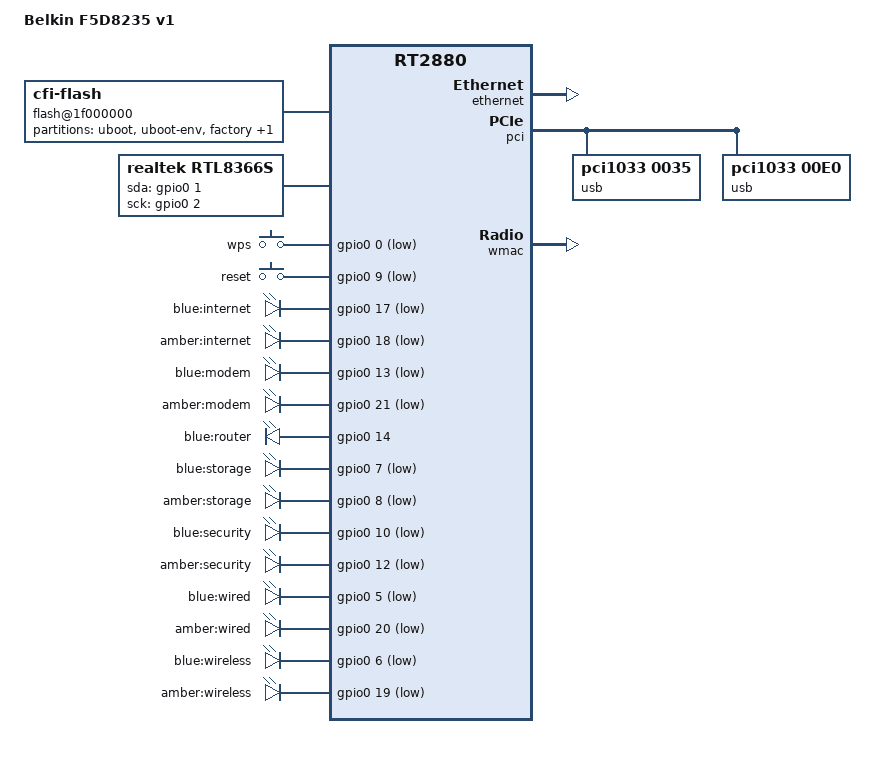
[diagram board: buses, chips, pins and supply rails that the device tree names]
#include "rt2880.dtsi"

#include <dt-bindings/gpio/gpio.h>
#include <dt-bindings/input/input.h>

/ {
	#address-cells = <1>;
	#size-cells = <1>;
	compatible = "belkin,f5d8235-v1", "ralink,rt2880-soc";
	model = "Belkin F5D8235 v1";

	aliases {
		led-boot = &led_wired_blue;
		led-failsafe = &led_wired_blue;
	};

	flash@1f000000 {
		compatible = "cfi-flash";
		reg = <0xbc400000 0x800000>;
		bank-width = <2>;
		device-width = <2>;

		partitions {
			compatible = "fixed-partitions";
			#address-cells = <1>;
			#size-cells = <1>;

			partition@0 {
				label = "uboot";
				reg = <0x0 0x30000>;
				read-only;
			};

			partition@30000 {
				label = "uboot-env";
				reg = <0x30000 0x10000>;
				read-only;
			};

			partition@40000 {
				label = "factory";
				reg = <0x40000 0x10000>;
				read-only;

				nvmem-layout {
					compatible = "fixed-layout";
					#address-cells = <1>;
					#size-cells = <1>;

					eeprom_factory_0: eeprom@0 {
						reg = <0x0 0x200>;
					};

					macaddr_factory_4: macaddr@4 {
						reg = <0x4 0x6>;
					};
				};
			};

			partition@50000 {
				compatible = "denx,uimage";
				label = "firmware";
				reg = <0x50000 0x7b0000>;
			};
		};
	};

	rtl8366s {
		compatible = "realtek,rtl8366s";
		sda-gpios = <&gpio0 1 GPIO_ACTIVE_HIGH>;
		sck-gpios = <&gpio0 2 GPIO_ACTIVE_HIGH>;

		realtek,initvals = <
			0x0242 0x02bf
			0x0245 0x02bf
			0x0248 0x02bf
			0x024b 0x02bf
			0x024e 0x02bf
			0x0251 0x02bf
			0x0254 0x0a3f
			0x0256 0x0a3f
			0x0258 0x0a3f
			0x025a 0x0a3f
			0x025c 0x0a3f
			0x025e 0x0a3f
			0x0263 0x007c
			0x0100 0x0004
			0xbe5b 0x3500
			0x800e 0x200f
			0xbe1d 0x0f00
			0x8001 0x5011
			0x800a 0xa2f4
			0x800b 0x17a3
			0xbe4b 0x17a3
			0xbe41 0x5011
			0xbe17 0x2100
			0x8000 0x8304
			0xbe40 0x8304
			0xbe4a 0xa2f4
			0x800c 0xa8d5
			0x8014 0x5500
			0x8015 0x0004
			0xbe4c 0xa8d5
			0xbe59 0x0008
			0xbe09 0x0e00
			0xbe36 0x1036
			0xbe37 0x1036
			0x800d 0x00ff
			0xbe4d 0x00ff
		>;

		realtek,green-ethernet-features;
	};

	keys {
		compatible = "gpio-keys";

		wps {
			label = "wps";
			gpios = <&gpio0 0 GPIO_ACTIVE_LOW>;
			linux,code = <KEY_WPS_BUTTON>;
		};

		reset {
			label = "reset";
			gpios = <&gpio0 9 GPIO_ACTIVE_LOW>;
			linux,code = <KEY_RESTART>;
		};
	};

	leds {
		compatible = "gpio-leds";

		internet {
			label = "blue:internet";
			gpios = <&gpio0 17 GPIO_ACTIVE_LOW>;
		};

		internet2 {
			label = "amber:internet";
			gpios = <&gpio0 18 GPIO_ACTIVE_LOW>;
		};

		modem {
			label = "blue:modem";
			gpios = <&gpio0 13 GPIO_ACTIVE_LOW>;
		};

		modem2 {
			label = "amber:modem";
			gpios = <&gpio0 21 GPIO_ACTIVE_LOW>;
		};

		router {
			label = "blue:router";
			gpios = <&gpio0 14 GPIO_ACTIVE_HIGH>;
		};

		storage {
			label = "blue:storage";
			gpios = <&gpio0 7 GPIO_ACTIVE_LOW>;
			trigger-sources = <&ohci_port1>, <&ehci_port1>;
			linux,default-trigger = "usbport";
		};

		storage2 {
			label = "amber:storage";
			gpios = <&gpio0 8 GPIO_ACTIVE_LOW>;
		};

		security {
			label = "blue:security";
			gpios = <&gpio0 10 GPIO_ACTIVE_LOW>;
		};

		security2 {
			label = "amber:security";
			gpios = <&gpio0 12 GPIO_ACTIVE_LOW>;
		};

		led_wired_blue: wired {
			label = "blue:wired";
			gpios = <&gpio0 5 GPIO_ACTIVE_LOW>;
		};

		wired2 {
			label = "amber:wired";
			gpios = <&gpio0 20 GPIO_ACTIVE_LOW>;
		};

		wireless {
			label = "blue:wireless";
			gpios = <&gpio0 6 GPIO_ACTIVE_LOW>;
		};

		wireless2 {
			label = "amber:wireless";
			gpios = <&gpio0 19 GPIO_ACTIVE_LOW>;
		};
	};
};

&state_default {
	gpio {
		groups = "spi", "i2c", "jtag", "mdio", "uartlite";
		function = "gpio";
	};
};

&ethernet {
	status = "okay";
	nvmem-cells = <&macaddr_factory_4>;
	nvmem-cell-names = "mac-address";

	port@0 {
		mediatek,fixed-link = <1000 1 1 1>;
	};
};

&pci {
	status = "okay";

	usb@11,0 {
		#address-cells = <1>;
		#size-cells = <0>;
		compatible = "pci1033,0035";
		reg = <0x8800 0 0 0 0>;

		ohci_port1: port@1 {
			reg = <1>;
			#trigger-source-cells = <0>;
		};
	};

	usb@11,1 {
		#address-cells = <1>;
		#size-cells = <0>;
		compatible = "pci1033,00e0";
		reg = <0x8900 0 0 0 0>;

		ehci_port1: port@1 {
			reg = <1>;
			#trigger-source-cells = <0>;
		};
	};
};

&wmac {
	nvmem-cells = <&eeprom_factory_0>;
	nvmem-cell-names = "eeprom";
};
